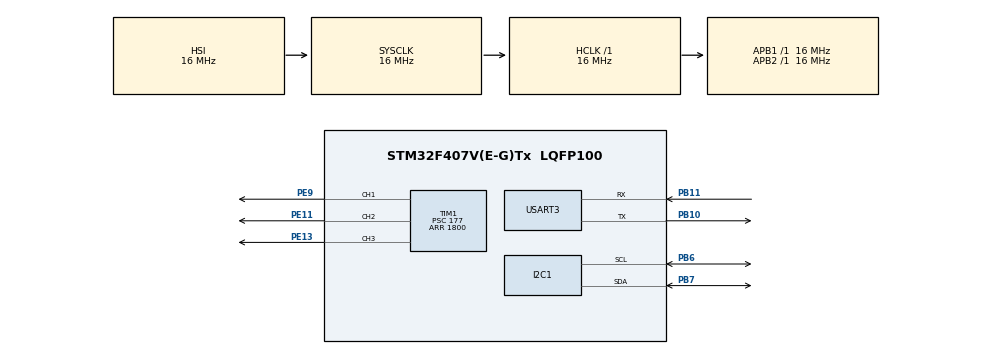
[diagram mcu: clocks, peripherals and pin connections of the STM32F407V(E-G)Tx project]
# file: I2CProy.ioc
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I2C1.I2C_Mode=I2C_Fast
Mcu.Family=STM32F4
Mcu.Name=STM32F407V(E-G)Tx
Mcu.Package=LQFP100
NVIC.PriorityGroup=NVIC_PRIORITYGROUP_4
PB10.Mode=Asynchronous
PB10.Signal=USART3_TX
PB11.Mode=Asynchronous
PB11.Signal=USART3_RX
PB6.Mode=I2C
PB6.Signal=I2C1_SCL
PB7.Mode=I2C
PB7.Signal=I2C1_SDA
PE11.Signal=S_TIM1_CH2
PE13.Signal=S_TIM1_CH3
PE9.Signal=S_TIM1_CH1
ProjectManager.HeapSize=0x200
ProjectManager.StackSize=0x400
ProjectManager.TargetToolchain=TrueSTUDIO
RCC.AHBFreq_Value=16000000
RCC.APB1Freq_Value=16000000
RCC.APB2Freq_Value=16000000
RCC.CortexFreq_Value=16000000
RCC.HSE_VALUE=25000000
RCC.HSI_VALUE=16000000
RCC.LSE_VALUE=32768
RCC.SYSCLKFreq_VALUE=16000000
RCC.VCOOutputFreq_Value=192000000
SH.S_TIM1_CH1.0=TIM1_CH1,PWM Generation1 CH1
SH.S_TIM1_CH2.0=TIM1_CH2,PWM Generation2 CH2
SH.S_TIM1_CH3.0=TIM1_CH3,PWM Generation3 CH3
TIM1.Channel-PWM\ Generation1\ CH1=TIM_CHANNEL_1
TIM1.Channel-PWM\ Generation2\ CH2=TIM_CHANNEL_2
TIM1.Channel-PWM\ Generation3\ CH3=TIM_CHANNEL_3
TIM1.Period=1800
TIM1.Prescaler=177
USART3.VirtualMode=VM_ASYNC
VP_TIM1_VS_ClockSourceINT.Mode=Internal
board=I2CProy

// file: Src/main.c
/**
  ******************************************************************************
  * File Name          : main.c
  * Description        : Main program body
  ******************************************************************************
  ** This notice applies to any and all portions of this file
  * that are not between comment pairs USER CODE BEGIN and
  * USER CODE END. Other portions of this file, whether
  * inserted by the user or by software development tools
  * are owned by their respective copyright owners.
  *
  * COPYRIGHT(c) 2018 STMicroelectronics
  *
  * Redistribution and use in source and binary forms, with or without modification,
  * are permitted provided that the following conditions are met:
  *   1. Redistributions of source code must retain the above copyright notice,
  *      this list of conditions and the following disclaimer.
  *   2. Redistributions in binary form must reproduce the above copyright notice,
  *      this list of conditions and the following disclaimer in the documentation
  *      and/or other materials provided with the distribution.
  *   3. Neither the name of STMicroelectronics nor the names of its contributors
  *      may be used to endorse or promote products derived from this software
  *      without specific prior written permission.
  *
  * THIS SOFTWARE IS PROVIDED BY THE COPYRIGHT HOLDERS AND CONTRIBUTORS "AS IS"
  * AND ANY EXPRESS OR IMPLIED WARRANTIES, INCLUDING, BUT NOT LIMITED TO, THE
  * IMPLIED WARRANTIES OF MERCHANTABILITY AND FITNESS FOR A PARTICULAR PURPOSE ARE
  * DISCLAIMED. IN NO EVENT SHALL THE COPYRIGHT HOLDER OR CONTRIBUTORS BE LIABLE
  * FOR ANY DIRECT, INDIRECT, INCIDENTAL, SPECIAL, EXEMPLARY, OR CONSEQUENTIAL
  * DAMAGES (INCLUDING, BUT NOT LIMITED TO, PROCUREMENT OF SUBSTITUTE GOODS OR
  * SERVICES; LOSS OF USE, DATA, OR PROFITS; OR BUSINESS INTERRUPTION) HOWEVER
  * CAUSED AND ON ANY THEORY OF LIABILITY, WHETHER IN CONTRACT, STRICT LIABILITY,
  * OR TORT (INCLUDING NEGLIGENCE OR OTHERWISE) ARISING IN ANY WAY OUT OF THE USE
  * OF THIS SOFTWARE, EVEN IF ADVISED OF THE POSSIBILITY OF SUCH DAMAGE.
  *
  ******************************************************************************
  */
#include "main.h"
#include "stm32f4xx_hal.h"
#include "i2c.h"
#include "tim.h"
#include "usart.h"
#include "gpio.h"

/* USER CODE BEGIN Includes */
#include"stdio.h"
#include"string.h"
#include"math.h"
#define MPU6050_AD 0xd0
#define RAD 180.0/3.14//direccion del dispositivo a verificar
//en el datasheet
/* USER CODE END Includes */

/* USER CODE BEGIN PV */
/* Private variables ---------------------------------------------------------*/

/* USER CODE END PV */

void SystemClock_Config(void);

/* USER CODE BEGIN PFP */
/* Private function prototypes -----------------------------------------------*/

/* USER CODE END PFP */

int main(void)
{

  /* MCU Configuration----------------------------------------------------------*/

  /* Reset of all peripherals, Initializes the Flash interface and the Systick. */
  HAL_Init();

  /* Configure the system clock */
  SystemClock_Config();

  /* Initialize all configured peripherals */
  MX_GPIO_Init();
  MX_I2C1_Init();
  MX_USART3_UART_Init();
  MX_TIM1_Init();

  /* USER CODE BEGIN 2 */

 uint8_t DatoRecibido[15];//15 registros PARA RECIBIR DATOS
 uint8_t DatoEnviado[2];//Direccion de dispositivo  y el dato
 char bufer[100];
 float AX,AY,AZ,GX,GY,GZ,T;//VARIABLES

 float  Ang[3]={0,0,0};
 float AcANG[2]={0,0};
 float angulos[3]={0,0,0};

 //MPU6050 MANAGER REGITRO PRA
 DatoEnviado[0]=0x6B;//direccion del power managente
 DatoEnviado[1]=0x00;
 HAL_I2C_Master_Transmit(&hi2c1,(uint16_t)MPU6050_AD,DatoEnviado,2,100);

 ///frecuencia de registro

 DatoEnviado[0]=0x19;//dsample rate diviter
 DatoEnviado[1]=0x07; //frecuancia a 1khz

 HAL_I2C_Master_Transmit(&hi2c1,(uint16_t)MPU6050_AD,DatoEnviado,2,100);
 HAL_TIM_PWM_Start(&htim1,TIM_CHANNEL_1);
 HAL_TIM_PWM_Start(&htim1,TIM_CHANNEL_2);
 HAL_TIM_PWM_Start(&htim1,TIM_CHANNEL_3);
  /* USER CODE END 2 */

  /* Infinite loop */
  while (1)
  {

  /* USER CODE BEGIN 3 */

	  DatoEnviado[0]=0x3B;//DIRECCION D
	  DatoEnviado[1]=0x00; //YA NO TENGO QUE ENVIAR EL SEGUNNDO DATO

	  HAL_I2C_Master_Transmit(&hi2c1,(uint16_t)MPU6050_AD,&DatoEnviado[0],1,100);
	  //ESCLAVO ENVIA DATOS

	  HAL_I2C_Master_Receive(&hi2c1,(uint16_t)MPU6050_AD,DatoRecibido,14,100);
	  AX=(float)(((int16_t)(DatoRecibido[0]<<8|DatoRecibido[1]))/(float)1638);
	  AY=(float)(((int16_t)(DatoRecibido[2]<<8|DatoRecibido[3]))/(float)1638);
	  AZ=(float)(((int16_t)(DatoRecibido[4]<<8|DatoRecibido[5]))/(float)1638);
	  T=(float)(((int16_t)(DatoRecibido[6]<<8|DatoRecibido[7]))/(float)340+(float)36.53);
	  GX=(float)(((int16_t)(DatoRecibido[8]<<8|DatoRecibido[9]))/(float)131);
	  GY=(float)(((int16_t)(DatoRecibido[10]<<8|DatoRecibido[11]))/(float)131);
	  GZ=(float)(((int16_t)(DatoRecibido[12]<<8|DatoRecibido[13]))/(float)131);

	  AcANG[0]=atan(AX/sqrt(pow(AY,2) + pow(AZ,2)))*RAD;
	  AcANG[1]=atan(AY/sqrt(pow(AX,2) + pow(AZ,2)))*RAD;

	  Ang[0]= 0.9*(Ang[0]+GX*0.01) + 0.1*AcANG[0];
	  Ang[1]= 0.9*(Ang[1]+GY*0.01) + 0.1*AcANG[1];
	  Ang[2]= Ang[2]+GZ*0.01;

	  if(Ang[0]>=0&&Ang[0]<90){
		  angulos[0]=Ang[0]+45+90;
		 __HAL_TIM_SET_COMPARE(&htim1,TIM_CHANNEL_1,angulos[0]);
	  }
	  else if(Ang[0]<0&&Ang[0]>-90){
		  angulos[0]= Ang[0]*(-1)+45;
		  __HAL_TIM_SET_COMPARE(&htim1,TIM_CHANNEL_1,angulos[0]);
	  }
	  if(Ang[1]>=0&&Ang[1]<90){
			  angulos[1]=Ang[1]+45+90;
			 __HAL_TIM_SET_COMPARE(&htim1,TIM_CHANNEL_2,angulos[1]);
		  }
		  else if(Ang[1]<0&&Ang[2]>-90){
			  angulos[1]= Ang[1]*(-1)+45;
			  __HAL_TIM_SET_COMPARE(&htim1,TIM_CHANNEL_2,angulos[1]);
		  }
	  if(Ang[2]>=0&&Ang[2]<90){
			  angulos[2]=Ang[2]+45+90;
			 __HAL_TIM_SET_COMPARE(&htim1,TIM_CHANNEL_3,angulos[2]);
		  }
		  else if(Ang[2]<0&&Ang[2]>-90){
			  angulos[2]= Ang[0]*(-1)+45;
			  __HAL_TIM_SET_COMPARE(&htim1,TIM_CHANNEL_2,angulos[0]);
		  }

	  sprintf(bufer, "Temp=%.2f\n\r,Angulo_X=%.2f\n\r,Angulo_Y=%.2f\n\r,Angulo_Z=%.2f\n\r\n",T,Ang[0],Ang[1],Ang[2]);
	  HAL_UART_Transmit(&huart3,(uint8_t*)bufer,(uint16_t)strlen(bufer),(uint32_t)100);
	  HAL_Delay(10);
  }
  /* USER CODE END 3 */

}

/** System Clock Configuration
*/
void SystemClock_Config(void)
{

  RCC_OscInitTypeDef RCC_OscInitStruct;
  RCC_ClkInitTypeDef RCC_ClkInitStruct;

    /**Configure the main internal regulator output voltage
    */
  __HAL_RCC_PWR_CLK_ENABLE();

  __HAL_PWR_VOLTAGESCALING_CONFIG(PWR_REGULATOR_VOLTAGE_SCALE1);

    /**Initializes the CPU, AHB and APB busses clocks
    */
  RCC_OscInitStruct.OscillatorType = RCC_OSCILLATORTYPE_HSI;
  RCC_OscInitStruct.HSIState = RCC_HSI_ON;
  RCC_OscInitStruct.HSICalibrationValue = 16;
  RCC_OscInitStruct.PLL.PLLState = RCC_PLL_NONE;
  if (HAL_RCC_OscConfig(&RCC_OscInitStruct) != HAL_OK)
  {
    _Error_Handler(__FILE__, __LINE__);
  }

    /**Initializes the CPU, AHB and APB busses clocks
    */
  RCC_ClkInitStruct.ClockType = RCC_CLOCKTYPE_HCLK|RCC_CLOCKTYPE_SYSCLK
                              |RCC_CLOCKTYPE_PCLK1|RCC_CLOCKTYPE_PCLK2;
  RCC_ClkInitStruct.SYSCLKSource = RCC_SYSCLKSOURCE_HSI;
  RCC_ClkInitStruct.AHBCLKDivider = RCC_SYSCLK_DIV1;
  RCC_ClkInitStruct.APB1CLKDivider = RCC_HCLK_DIV1;
  RCC_ClkInitStruct.APB2CLKDivider = RCC_HCLK_DIV1;

  if (HAL_RCC_ClockConfig(&RCC_ClkInitStruct, FLASH_LATENCY_0) != HAL_OK)
  {
    _Error_Handler(__FILE__, __LINE__);
  }

    /**Configure the Systick interrupt time
    */
  HAL_SYSTICK_Config(HAL_RCC_GetHCLKFreq()/1000);

    /**Configure the Systick
    */
  HAL_SYSTICK_CLKSourceConfig(SYSTICK_CLKSOURCE_HCLK);

  /* SysTick_IRQn interrupt configuration */
  HAL_NVIC_SetPriority(SysTick_IRQn, 0, 0);
}

void _Error_Handler(char * file, int line)
{
  while(1)
  {
  }
}

/************************ (C) COPYRIGHT STMicroelectronics *****END OF FILE****/
